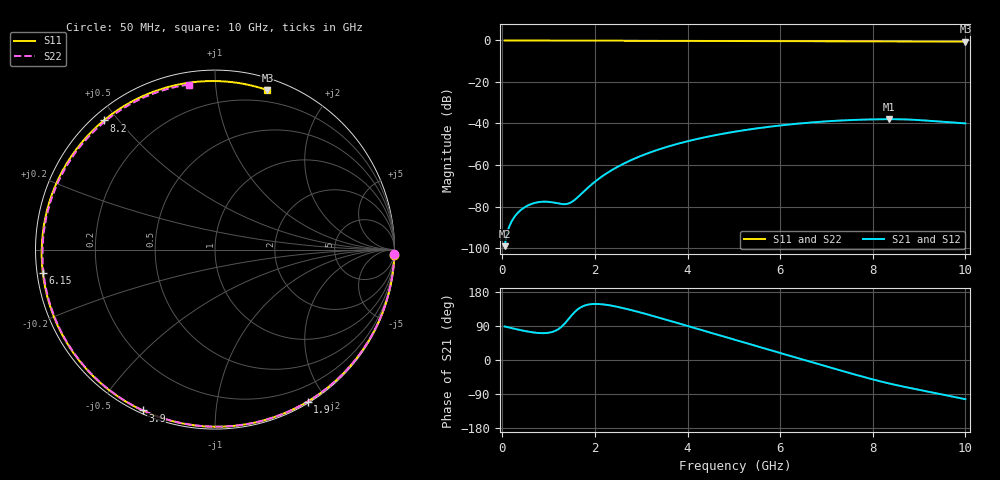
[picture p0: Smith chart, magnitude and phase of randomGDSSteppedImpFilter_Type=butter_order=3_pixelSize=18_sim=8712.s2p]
! freq	dB(S11)	phase(S11)	dB(S12)	phase(S12)
!  dB(S21)	phase(S21)	dB(S22)	phase(S22)
!S-par simulation data
#  GHz  S  DB  R 50
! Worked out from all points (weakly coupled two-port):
!   200 points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, 50 MHz to 10 GHz, reference 50 ohm
!   highest |S21| = -37.94 dB at 8.35 GHz (marker M1); lowest = -99.1 dB at 50 MHz (marker M2)
!   lowest |S11| = -0.6 dB at 10 GHz (marker M3), VSWR 29.93, Z = 4.85 + j68.8 ohm
!   |S11| at or under -10 dB: nowhere
!   |S22| runs from -0.6 to 0.0 dB; largest |S21 - S12| = 0
!   S11 on the Smith chart (normalised r, x): 50 MHz: 0, -71; 1.9 GHz: 0.02, -1.78; 3.9 GHz: 0.01, -0.65; 6.15 GHz: 0.02, -0.07; 8.2 GHz: 0.03, +0.46; 10 GHz: 0.10, +1.38
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0.05  -0.00 -1.6  -99.11 88.5  -99.11 88.5  -0.00 -1.5
0.5  -0.02 -15.8  -80.13 76.2  -80.13 76.2  -0.02 -14.3
0.7  -0.03 -22.1  -78.28 72.3  -78.28 72.3  -0.03 -20.0
0.9  -0.04 -28.3  -77.67 70.9  -77.67 70.9  -0.03 -25.7
1.4  -0.06 -43.7  -78.74 103.4  -78.74 103.4  -0.05 -39.6
1.55  -0.06 -48.2  -77.04 124.9  -77.04 124.9  -0.06 -43.8
1.75  -0.07 -54.2  -73.00 142.4  -73.00 142.4  -0.06 -49.2
1.9  -0.07 -58.7  -69.94 147.1  -69.94 147.1  -0.07 -53.3
2.2  -0.08 -67.4  -64.80 146.4  -64.80 146.4  -0.08 -61.3
2.55  -0.10 -77.5  -60.16 138.6  -60.16 138.6  -0.09 -70.5
3.4  -0.13 -100.9  -52.37 111.2  -52.37 111.2  -0.12 -92.2
3.9  -0.15 -114.2  -49.13 93.4  -49.13 93.4  -0.14 -104.5
5.05  -0.21 -143.9  -43.85 52.1  -43.85 52.1  -0.20 -131.9
5.6  -0.24 -158.0  -42.05 32.6  -42.05 32.6  -0.23 -144.8
6.15  -0.28 -172.2  -40.60 13.1  -40.60 13.1  -0.27 -157.7
6.7  -0.33 173.3  -39.46 -6.3  -39.46 -6.3  -0.31 -170.8
7.45  -0.39 152.7  -38.42 -32.7  -38.42 -32.7  -0.38 170.7
8.2  -0.45 130.7  -37.96 -57.5  -37.96 -57.5  -0.45 151.3
8.35  -0.46 126.1  -37.94 -61.9  -37.94 -61.9  -0.47 147.3
9.2  -0.53 99.0  -38.67 -83.6  -38.67 -83.6  -0.55 123.3
9.6  -0.56 85.6  -39.33 -93.8  -39.33 -93.8  -0.59 111.3
10  -0.58 71.8  -39.95 -103.5  -39.95 -103.5  -0.62 98.9
